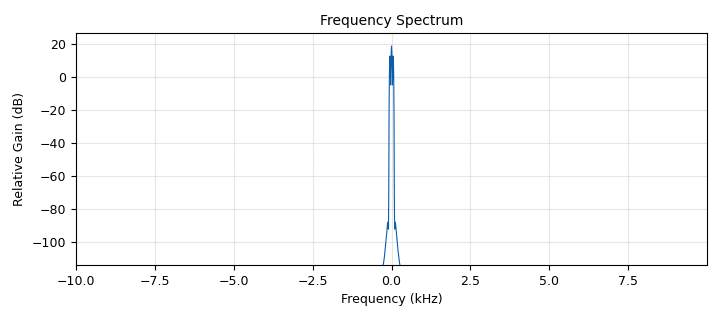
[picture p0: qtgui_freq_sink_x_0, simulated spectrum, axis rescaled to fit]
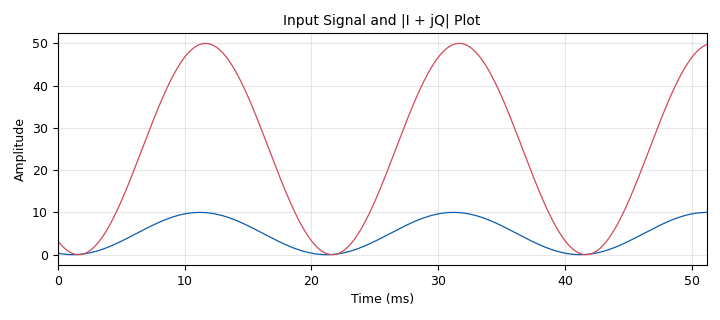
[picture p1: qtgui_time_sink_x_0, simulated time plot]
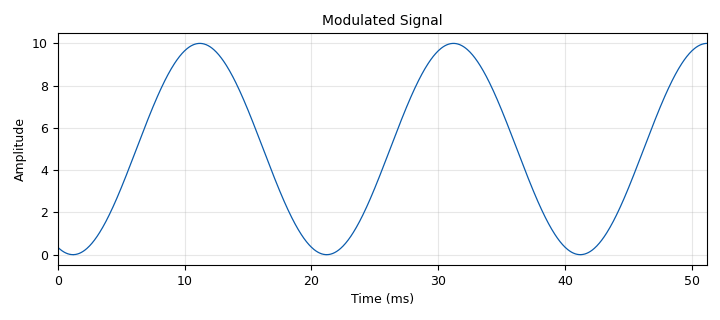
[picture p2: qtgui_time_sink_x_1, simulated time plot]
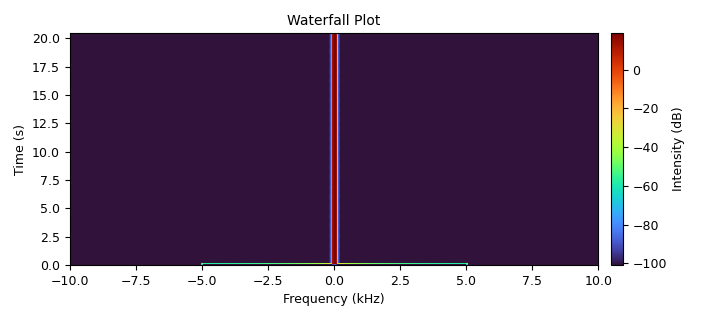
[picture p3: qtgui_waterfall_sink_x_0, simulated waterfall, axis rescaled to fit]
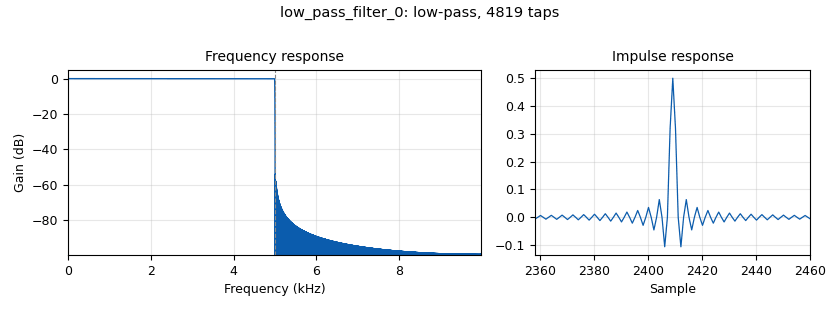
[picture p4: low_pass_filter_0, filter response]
<?xml version='1.0' encoding='utf-8'?>
<?grc format='1' created='3.7.10'?>
<flow_graph>
<block>
<key>options</key>
<param><key>id</key><value>top_block</value></param>
<param><key>generate_options</key><value>qt_gui</value></param>
</block>
<block>
<key>variable_qtgui_chooser</key>
<param><key>id</key><value>Width_filter</value></param>
<param><key>value</key><value>100</value></param>
<param><key>_enabled</key><value>0</value></param>
<param><key>label0</key><value>100 Hz</value></param>
<param><key>label1</key><value>200 Hz</value></param>
<param><key>label2</key><value>300 Hz</value></param>
<param><key>label3</key><value>400 Hz</value></param>
<param><key>label4</key><value>500 Hz</value></param>
<param><key>label</key><value>Width Filter</value></param>
<param><key>num_opts</key><value>5</value></param>
<param><key>option0</key><value>100</value></param>
<param><key>option1</key><value>200</value></param>
<param><key>option2</key><value>300</value></param>
<param><key>option3</key><value>400</value></param>
<param><key>option4</key><value>500</value></param>
<param><key>type</key><value>int</value></param>
</block>
<block>
<key>variable_qtgui_range</key>
<param><key>id</key><value>carrier_amp</value></param>
<param><key>value</key><value>1</value></param>
<param><key>gui_hint</key><value>4,1</value></param>
<param><key>label</key><value>Carrier Amplitude</value></param>
<param><key>orient</key><value>Qt.Horizontal</value></param>
<param><key>start</key><value>1</value></param>
<param><key>step</key><value>1</value></param>
<param><key>stop</key><value>10</value></param>
</block>
<block>
<key>variable_qtgui_range</key>
<param><key>id</key><value>carrier_freq</value></param>
<param><key>value</key><value>500e3</value></param>
<param><key>gui_hint</key><value>4,0</value></param>
<param><key>label</key><value>Carrier Frequency</value></param>
<param><key>orient</key><value>Qt.Horizontal</value></param>
<param><key>start</key><value>50</value></param>
<param><key>step</key><value>10</value></param>
<param><key>stop</key><value>5e6</value></param>
</block>
<block>
<key>variable_qtgui_range</key>
<param><key>id</key><value>center_freq_filter</value></param>
<param><key>value</key><value>5e3</value></param>
<param><key>gui_hint</key><value>2,0</value></param>
<param><key>label</key><value>Cut Off Frequency for Filter</value></param>
<param><key>orient</key><value>Qt.Horizontal</value></param>
<param><key>start</key><value>1e3</value></param>
<param><key>step</key><value>10</value></param>
<param><key>stop</key><value>9e3</value></param>
</block>
<block>
<key>variable_qtgui_check_box</key>
<param><key>id</key><value>fil_switch</value></param>
<param><key>value</key><value>True</value></param>
<param><key>false</key><value>False</value></param>
<param><key>gui_hint</key><value>2,1</value></param>
<param><key>label</key><value>Filter On/Off</value></param>
<param><key>true</key><value>True</value></param>
<param><key>type</key><value>int</value></param>
</block>
<block>
<key>variable_qtgui_range</key>
<param><key>id</key><value>freq_sine</value></param>
<param><key>value</key><value>50</value></param>
<param><key>gui_hint</key><value>3,0</value></param>
<param><key>label</key><value>Input Signal Frequency</value></param>
<param><key>orient</key><value>Qt.Horizontal</value></param>
<param><key>start</key><value>50</value></param>
<param><key>step</key><value>1</value></param>
<param><key>stop</key><value>10e3</value></param>
</block>
<block>
<key>variable_qtgui_check_box</key>
<param><key>id</key><value>noise_switch</value></param>
<param><key>value</key><value>False</value></param>
<param><key>false</key><value>False</value></param>
<param><key>gui_hint</key><value>3,1</value></param>
<param><key>label</key><value>Artificial Noise On/Off</value></param>
<param><key>true</key><value>True</value></param>
<param><key>type</key><value>real</value></param>
</block>
<block>
<key>variable</key>
<param><key>id</key><value>samp_rate</value></param>
<param><key>value</key><value>20e3</value></param>
</block>
<block>
<key>analog_noise_source_x</key>
<param><key>id</key><value>analog_noise_source_x_0</value></param>
<param><key>amp</key><value>noise_switch</value></param>
<param><key>noise_type</key><value>analog.GR_GAUSSIAN</value></param>
<param><key>type</key><value>float</value></param>
<param><key>seed</key><value>0</value></param>
</block>
<block>
<key>analog_sig_source_x</key>
<param><key>id</key><value>analog_sig_source_x_0</value></param>
<param><key>amp</key><value>5</value></param>
<param><key>freq</key><value>freq_sine</value></param>
<param><key>offset</key><value>0</value></param>
<param><key>type</key><value>float</value></param>
<param><key>samp_rate</key><value>samp_rate</value></param>
<param><key>waveform</key><value>analog.GR_COS_WAVE</value></param>
</block>
<block>
<key>analog_sig_source_x</key>
<param><key>id</key><value>analog_sig_source_x_0_0</value></param>
<param><key>amp</key><value>carrier_amp</value></param>
<param><key>freq</key><value>carrier_freq</value></param>
<param><key>offset</key><value>0</value></param>
<param><key>type</key><value>float</value></param>
<param><key>samp_rate</key><value>samp_rate</value></param>
<param><key>waveform</key><value>analog.GR_COS_WAVE</value></param>
</block>
<block>
<key>band_pass_filter</key>
<param><key>id</key><value>band_pass_filter_0</value></param>
<param><key>decim</key><value>1</value></param>
<param><key>_enabled</key><value>0</value></param>
<param><key>type</key><value>fir_filter_ccf</value></param>
<param><key>gain</key><value>1</value></param>
<param><key>high_cutoff_freq</key><value>center_freq_filter+(Width_filter/2)</value></param>
<param><key>low_cutoff_freq</key><value>center_freq_filter-(Width_filter/2)</value></param>
<param><key>samp_rate</key><value>samp_rate</value></param>
<param><key>width</key><value>10</value></param>
<param><key>win</key><value>firdes.WIN_HAMMING</value></param>
</block>
<block>
<key>blks2_selector</key>
<param><key>id</key><value>blks2_selector_0</value></param>
<param><key>input_index</key><value>0</value></param>
<param><key>num_inputs</key><value>1</value></param>
<param><key>num_outputs</key><value>2</value></param>
<param><key>output_index</key><value>fil_switch</value></param>
<param><key>type</key><value>complex</value></param>
<param><key>vlen</key><value>1</value></param>
</block>
<block>
<key>blks2_selector</key>
<param><key>id</key><value>blks2_selector_0_0</value></param>
<param><key>input_index</key><value>fil_switch</value></param>
<param><key>num_inputs</key><value>2</value></param>
<param><key>num_outputs</key><value>1</value></param>
<param><key>output_index</key><value>0</value></param>
<param><key>type</key><value>complex</value></param>
<param><key>vlen</key><value>1</value></param>
</block>
<block>
<key>blocks_add_const_vxx</key>
<param><key>id</key><value>blocks_add_const_vxx_0</value></param>
<param><key>const</key><value>5</value></param>
<param><key>type</key><value>float</value></param>
</block>
<block>
<key>blocks_add_xx</key>
<param><key>id</key><value>blocks_add_xx_0</value></param>
<param><key>type</key><value>float</value></param>
</block>
<block>
<key>blocks_complex_to_mag</key>
<param><key>id</key><value>blocks_complex_to_mag_0</value></param>
</block>
<block>
<key>blocks_float_to_complex</key>
<param><key>id</key><value>blocks_float_to_complex_0</value></param>
</block>
<block>
<key>blocks_multiply_xx</key>
<param><key>id</key><value>blocks_multiply_xx_0</value></param>
<param><key>type</key><value>float</value></param>
</block>
<block>
<key>blocks_multiply_xx</key>
<param><key>id</key><value>blocks_multiply_xx_0_0</value></param>
<param><key>type</key><value>float</value></param>
</block>
<block>
<key>blocks_multiply_xx</key>
<param><key>id</key><value>blocks_multiply_xx_0_1</value></param>
<param><key>type</key><value>float</value></param>
</block>
<block>
<key>blocks_throttle</key>
<param><key>id</key><value>blocks_throttle_0</value></param>
<param><key>samples_per_second</key><value>samp_rate</value></param>
<param><key>type</key><value>complex</value></param>
</block>
<block>
<key>blocks_throttle</key>
<param><key>id</key><value>blocks_throttle_0_0</value></param>
<param><key>samples_per_second</key><value>samp_rate</value></param>
<param><key>type</key><value>float</value></param>
</block>
<block>
<key>analog_sig_source_x</key>
<param><key>id</key><value>inphase_osc</value></param>
<param><key>amp</key><value>5</value></param>
<param><key>freq</key><value>carrier_freq</value></param>
<param><key>offset</key><value>0</value></param>
<param><key>type</key><value>float</value></param>
<param><key>samp_rate</key><value>samp_rate</value></param>
<param><key>waveform</key><value>analog.GR_COS_WAVE</value></param>
</block>
<block>
<key>low_pass_filter</key>
<param><key>id</key><value>low_pass_filter_0</value></param>
<param><key>cutoff_freq</key><value>center_freq_filter</value></param>
<param><key>decim</key><value>1</value></param>
<param><key>type</key><value>fir_filter_ccf</value></param>
<param><key>gain</key><value>1</value></param>
<param><key>samp_rate</key><value>samp_rate</value></param>
<param><key>width</key><value>10</value></param>
<param><key>win</key><value>firdes.WIN_HAMMING</value></param>
</block>
<block>
<key>qtgui_freq_sink_x</key>
<param><key>id</key><value>qtgui_freq_sink_x_0</value></param>
<param><key>bw</key><value>samp_rate</value></param>
<param><key>fc</key><value>0</value></param>
<param><key>fftsize</key><value>2048</value></param>
<param><key>gui_hint</key><value>0,1</value></param>
<param><key>legend</key><value>False</value></param>
<param><key>name</key><value>"Frequency Spectrum"</value></param>
<param><key>showports</key><value>True</value></param>
<param><key>type</key><value>complex</value></param>
<param><key>wintype</key><value>firdes.WIN_BLACKMAN_hARRIS</value></param>
</block>
<block>
<key>qtgui_sink_x</key>
<param><key>id</key><value>qtgui_sink_x_0</value></param>
<param><key>bw</key><value>samp_rate</value></param>
<param><key>fc</key><value>0</value></param>
<param><key>freqchangevar</key><value>None</value></param>
<param><key>_enabled</key><value>0</value></param>
<param><key>fftsize</key><value>1024</value></param>
<param><key>showports</key><value>True</value></param>
<param><key>type</key><value>complex</value></param>
<param><key>wintype</key><value>firdes.WIN_BLACKMAN_hARRIS</value></param>
</block>
<block>
<key>qtgui_time_sink_x</key>
<param><key>id</key><value>qtgui_time_sink_x_0</value></param>
<param><key>autoscale</key><value>True</value></param>
<param><key>gui_hint</key><value>1,0</value></param>
<param><key>legend</key><value>False</value></param>
<param><key>color1</key><value>"blue"</value></param>
<param><key>label1</key><value>Signal (Pre-Modulation)</value></param>
<param><key>color2</key><value>"red"</value></param>
<param><key>label2</key><value>|I+jQ|</value></param>
<param><key>name</key><value>"Input Signal and |I + jQ| Plot"</value></param>
<param><key>nconnections</key><value>2</value></param>
<param><key>size</key><value>1024</value></param>
<param><key>srate</key><value>samp_rate</value></param>
<param><key>type</key><value>float</value></param>
<param><key>ymax</key><value>50</value></param>
<param><key>ymin</key><value>0</value></param>
</block>
<block>
<key>qtgui_time_sink_x</key>
<param><key>id</key><value>qtgui_time_sink_x_1</value></param>
<param><key>autoscale</key><value>True</value></param>
<param><key>gui_hint</key><value>0,0</value></param>
<param><key>legend</key><value>False</value></param>
<param><key>color1</key><value>"blue"</value></param>
<param><key>label1</key><value></value></param>
<param><key>name</key><value>"Modulated Signal"</value></param>
<param><key>size</key><value>1024</value></param>
<param><key>srate</key><value>samp_rate</value></param>
<param><key>type</key><value>float</value></param>
<param><key>ymax</key><value>50</value></param>
<param><key>ymin</key><value>0</value></param>
</block>
<block>
<key>qtgui_waterfall_sink_x</key>
<param><key>id</key><value>qtgui_waterfall_sink_x_0</value></param>
<param><key>bw</key><value>samp_rate</value></param>
<param><key>fc</key><value>0</value></param>
<param><key>fftsize</key><value>2048</value></param>
<param><key>gui_hint</key><value>1,1</value></param>
<param><key>legend</key><value>False</value></param>
<param><key>color1</key><value>1</value></param>
<param><key>name</key><value>"Waterfall Plot"</value></param>
<param><key>showports</key><value>True</value></param>
<param><key>type</key><value>complex</value></param>
<param><key>wintype</key><value>firdes.WIN_BLACKMAN_hARRIS</value></param>
</block>
<block>
<key>analog_sig_source_x</key>
<param><key>id</key><value>quadrature_osc</value></param>
<param><key>amp</key><value>5</value></param>
<param><key>freq</key><value>carrier_freq</value></param>
<param><key>offset</key><value>0</value></param>
<param><key>type</key><value>float</value></param>
<param><key>samp_rate</key><value>samp_rate</value></param>
<param><key>waveform</key><value>analog.GR_SIN_WAVE</value></param>
</block>
<connection><source_block_id>analog_noise_source_x_0</source_block_id><sink_block_id>blocks_add_xx_0</sink_block_id><source_key>0</source_key><sink_key>1</sink_key></connection>
<connection><source_block_id>analog_sig_source_x_0</source_block_id><sink_block_id>blocks_add_xx_0</sink_block_id><source_key>0</source_key><sink_key>0</sink_key></connection>
<connection><source_block_id>analog_sig_source_x_0_0</source_block_id><sink_block_id>blocks_multiply_xx_0</sink_block_id><source_key>0</source_key><sink_key>1</sink_key></connection>
<connection><source_block_id>band_pass_filter_0</source_block_id><sink_block_id>blks2_selector_0_0</sink_block_id><source_key>0</source_key><sink_key>1</sink_key></connection>
<connection><source_block_id>blks2_selector_0</source_block_id><sink_block_id>blks2_selector_0_0</sink_block_id><source_key>0</source_key><sink_key>0</sink_key></connection>
<connection><source_block_id>blks2_selector_0</source_block_id><sink_block_id>band_pass_filter_0</sink_block_id><source_key>1</source_key><sink_key>0</sink_key></connection>
<connection><source_block_id>blks2_selector_0</source_block_id><sink_block_id>low_pass_filter_0</sink_block_id><source_key>1</source_key><sink_key>0</sink_key></connection>
<connection><source_block_id>blks2_selector_0_0</source_block_id><sink_block_id>blocks_throttle_0</sink_block_id><source_key>0</source_key><sink_key>0</sink_key></connection>
<connection><source_block_id>blocks_add_const_vxx_0</source_block_id><sink_block_id>blocks_multiply_xx_0</sink_block_id><source_key>0</source_key><sink_key>0</sink_key></connection>
<connection><source_block_id>blocks_add_const_vxx_0</source_block_id><sink_block_id>blocks_throttle_0_0</sink_block_id><source_key>0</source_key><sink_key>0</sink_key></connection>
<connection><source_block_id>blocks_add_xx_0</source_block_id><sink_block_id>blocks_add_const_vxx_0</sink_block_id><source_key>0</source_key><sink_key>0</sink_key></connection>
<connection><source_block_id>blocks_complex_to_mag_0</source_block_id><sink_block_id>qtgui_time_sink_x_0</sink_block_id><source_key>0</source_key><sink_key>1</sink_key></connection>
<connection><source_block_id>blocks_float_to_complex_0</source_block_id><sink_block_id>blks2_selector_0</sink_block_id><source_key>0</source_key><sink_key>0</sink_key></connection>
<connection><source_block_id>blocks_multiply_xx_0</source_block_id><sink_block_id>blocks_multiply_xx_0_0</sink_block_id><source_key>0</source_key><sink_key>0</sink_key></connection>
<connection><source_block_id>blocks_multiply_xx_0</source_block_id><sink_block_id>blocks_multiply_xx_0_1</sink_block_id><source_key>0</source_key><sink_key>0</sink_key></connection>
<connection><source_block_id>blocks_multiply_xx_0</source_block_id><sink_block_id>qtgui_time_sink_x_1</sink_block_id><source_key>0</source_key><sink_key>0</sink_key></connection>
<connection><source_block_id>blocks_multiply_xx_0_0</source_block_id><sink_block_id>blocks_float_to_complex_0</sink_block_id><source_key>0</source_key><sink_key>0</sink_key></connection>
<connection><source_block_id>blocks_multiply_xx_0_1</source_block_id><sink_block_id>blocks_float_to_complex_0</sink_block_id><source_key>0</source_key><sink_key>1</sink_key></connection>
<connection><source_block_id>blocks_throttle_0</source_block_id><sink_block_id>blocks_complex_to_mag_0</sink_block_id><source_key>0</source_key><sink_key>0</sink_key></connection>
<connection><source_block_id>blocks_throttle_0</source_block_id><sink_block_id>qtgui_freq_sink_x_0</sink_block_id><source_key>0</source_key><sink_key>0</sink_key></connection>
<connection><source_block_id>blocks_throttle_0</source_block_id><sink_block_id>qtgui_sink_x_0</sink_block_id><source_key>0</source_key><sink_key>0</sink_key></connection>
<connection><source_block_id>blocks_throttle_0</source_block_id><sink_block_id>qtgui_waterfall_sink_x_0</sink_block_id><source_key>0</source_key><sink_key>0</sink_key></connection>
<connection><source_block_id>blocks_throttle_0_0</source_block_id><sink_block_id>qtgui_time_sink_x_0</sink_block_id><source_key>0</source_key><sink_key>0</sink_key></connection>
<connection><source_block_id>inphase_osc</source_block_id><sink_block_id>blocks_multiply_xx_0_0</sink_block_id><source_key>0</source_key><sink_key>1</sink_key></connection>
<connection><source_block_id>low_pass_filter_0</source_block_id><sink_block_id>blks2_selector_0_0</sink_block_id><source_key>0</source_key><sink_key>1</sink_key></connection>
<connection><source_block_id>quadrature_osc</source_block_id><sink_block_id>blocks_multiply_xx_0_1</sink_block_id><source_key>0</source_key><sink_key>1</sink_key></connection>
</flow_graph>
